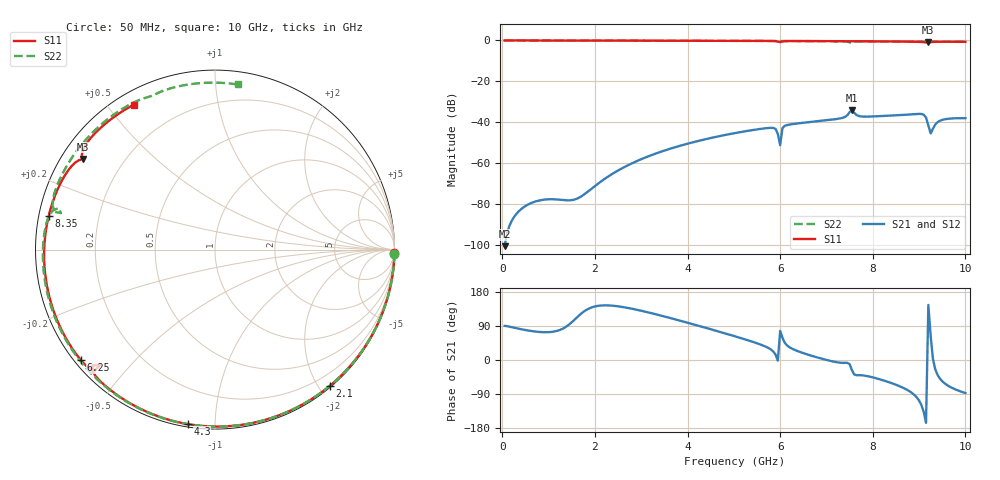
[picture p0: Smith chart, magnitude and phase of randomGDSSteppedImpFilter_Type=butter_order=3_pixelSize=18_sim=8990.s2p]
! freq	dB(S11)	phase(S11)	dB(S12)	phase(S12)
!  dB(S21)	phase(S21)	dB(S22)	phase(S22)
!S-par simulation data
#  GHz  S  DB  R 50
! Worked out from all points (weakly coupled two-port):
!   200 points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, 50 MHz to 10 GHz, reference 50 ohm
!   highest |S21| = -34.13 dB at 7.55 GHz (marker M1); lowest = -100.7 dB at 50 MHz (marker M2)
!   lowest |S11| = -1.0 dB at 9.2 GHz (marker M3), VSWR 17.85, Z = 3.07 + j15.4 ohm
!   |S11| at or under -10 dB: nowhere
!   |S22| runs from -1.1 to 0.0 dB; largest |S21 - S12| = 0
!   S11 on the Smith chart (normalised r, x): 50 MHz: 0, -94; 2.1 GHz: 0.02, -2.15; 4.3 GHz: 0.01, -0.86; 6.25 GHz: 0.02, -0.36; 8.35 GHz: 0.03, +0.10; 10 GHz: 0.05, +0.59
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0.05  -0.00 -1.2  -100.74 90.0  -100.74 90.0  -0.00 -1.4
1.75  -0.05 -41.7  -75.68 126.9  -75.68 126.9  -0.06 -47.2
2.1  -0.06 -49.9  -69.58 143.4  -69.58 143.4  -0.07 -56.3
3.4  -0.11 -79.2  -54.69 118.0  -54.69 118.0  -0.12 -89.2
4.3  -0.14 -98.9  -48.83 88.1  -48.83 88.1  -0.16 -111.2
5.05  -0.18 -115.2  -45.26 61.6  -45.26 61.6  -0.20 -129.5
5.85  -0.27 -133.4  -42.85 22.6  -42.85 22.6  -0.26 -149.2
5.95  -0.54 -136.6  -45.74 -1.5  -45.74 -1.5  -0.27 -151.7
6  -0.84 -134.9  -51.30 76.8  -51.30 76.8  -0.27 -152.9
6.05  -0.46 -134.8  -42.91 58.5  -42.91 58.5  -0.27 -154.2
6.25  -0.28 -140.4  -41.02 30.3  -41.02 30.3  -0.29 -159.3
6.7  -0.30 -150.9  -39.79 10.4  -39.79 10.4  -0.33 -171.2
7.35  -0.37 -166.2  -37.88 -7.5  -37.88 -7.5  -0.46 170.1
7.55  -0.39 -171.0  -34.13 -26.7  -34.13 -26.7  -1.09 166.7
7.75  -0.41 -175.9  -37.21 -40.2  -37.21 -40.2  -0.46 161.1
8.35  -0.49 168.5  -36.84 -58.6  -36.84 -58.6  -0.49 141.6
9.05  -0.75 148.1  -36.00 -118.8  -36.00 -118.8  -0.58 117.5
9.15  -0.96 145.8  -37.74 -165.8  -37.74 -165.8  -0.64 113.9
9.2  -0.97 145.6  -41.60 145.3  -41.60 145.3  -0.66 112.4
9.25  -0.84 144.9  -45.51 63.8  -45.51 63.8  -0.65 110.8
9.45  -0.62 138.0  -39.33 -49.1  -39.33 -49.1  -0.61 103.4
10  -0.67 119.2  -38.06 -87.3  -38.06 -87.3  -0.64 82.1
